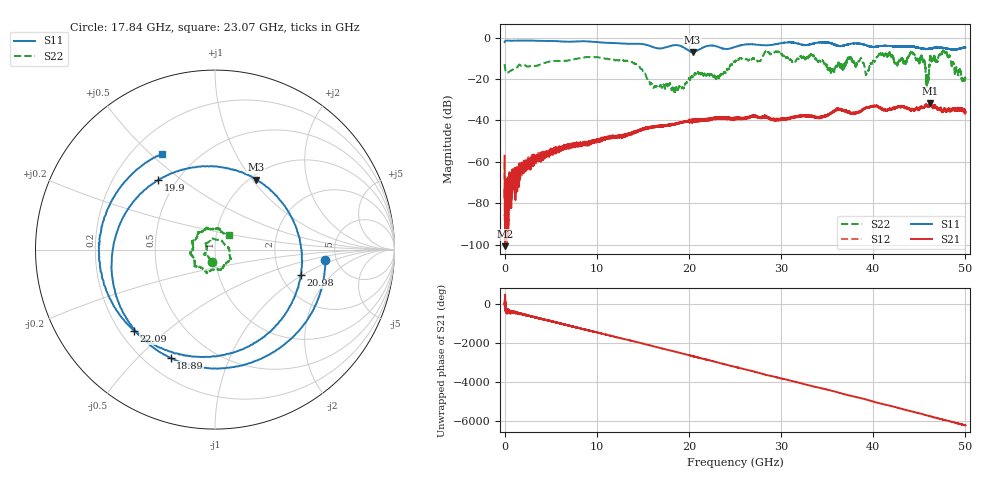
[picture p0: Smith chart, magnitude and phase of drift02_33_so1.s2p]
!Created with skrf (http://scikit-rf.org).
# Hz S RI R 50.0
!freq ReS11 ImS11 ReS21 ImS21 ReS12 ImS12 ReS22 ImS22
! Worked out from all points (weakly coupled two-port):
!   10001 points, 300 kHz to 50 GHz, reference 50 ohm
!   highest |S21| = -31.60 dB at 46.2 GHz (marker M1); lowest = -100.8 dB at 50.3 MHz (marker M2)
!   lowest |S11| = -6.9 dB at 20.4 GHz (marker M3), VSWR 2.65, Z = 53.2 + j52.1 ohm
!   |S11| at or under -10 dB: nowhere
!   |S22| runs from -26.7 to -6.1 dB; largest |S21 - S12| = 0.0037
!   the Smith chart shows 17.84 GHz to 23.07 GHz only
!   S11 on the Smith chart (normalised r, x): 17.84 GHz: 4.08, -0.73; 18.89 GHz: 0.30, -0.63; 19.9 GHz: 0.40, +0.41; 20.98 GHz: 2.56, -0.98; 22.09 GHz: 0.26, -0.39; 23.07 GHz: 0.32, +0.55
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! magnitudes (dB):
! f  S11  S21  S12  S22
! 300 kHz  -2.1  -57.1  -60.3  -12.7
! 50.3 MHz  -1.6  -100.8  -77.8  -14.9
! 265.3 MHz  -1.4  -75.5  -78.6  -17.0
! 3.16 GHz  -1.4  -56.4  -59.0  -13.5
! 8.335 GHz  -1.7  -51.7  -51.6  -9.7
! 13.71 GHz  -2.9  -46.7  -46.3  -11.7
! 16.67 GHz  -5.2  -42.9  -42.8  -23.6
! 17.84 GHz  -4.2  -42.4  -42.3  -23.2
! 18.89 GHz  -3.7  -41.2  -41.3  -24.2
! 19.9 GHz  -6.0  -40.4  -40.4  -20.0
! 20.4 GHz  -6.9  -39.8  -40.1  -19.0
! 20.98 GHz  -6.0  -40.0  -40.1  -16.9
! 22.09 GHz  -3.9  -39.7  -39.7  -17.4
! 23.07 GHz  -4.3  -38.9  -38.6  -18.9
! 25 GHz  -4.5  -39.2  -39.2  -11.5
! 33.34 GHz  -3.1  -37.5  -37.8  -8.4
! 39.33 GHz  -3.8  -33.6  -33.9  -16.8
! 41.67 GHz  -3.9  -34.6  -34.9  -7.7
! 45.85 GHz  -5.4  -33.0  -33.0  -19.7
! 46.2 GHz  -5.2  -31.6  -31.8  -8.7
! 47.75 GHz  -4.9  -34.5  -34.3  -7.1
! 50 GHz  -4.6  -36.0  -35.9  -19.3
